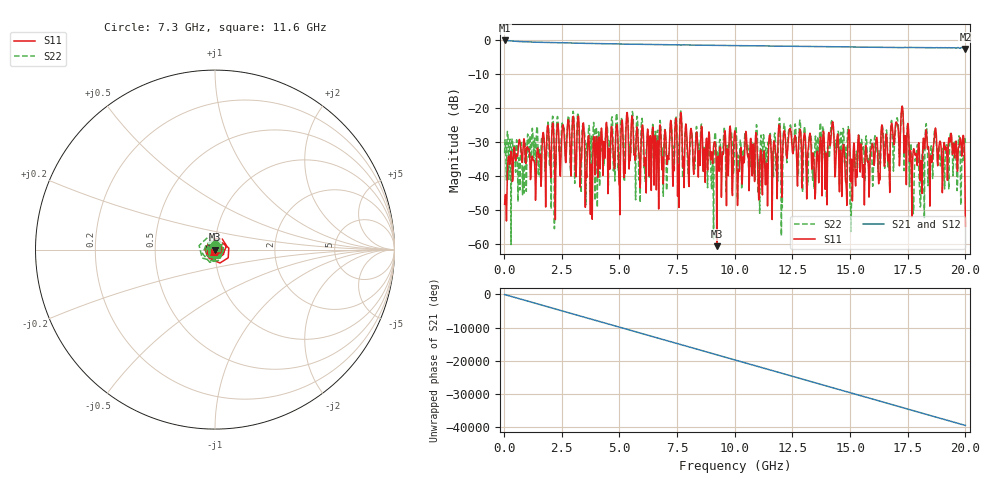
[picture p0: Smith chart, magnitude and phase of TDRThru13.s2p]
! File created by SignalIntegrity v1.3.3: Signal and Power Integrity Tools
! https://github.com/TeledyneLeCroy/SignalIntegrity
# MHz S MA R 50.0
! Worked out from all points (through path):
!   1000 points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, 20 MHz to 20 GHz, reference 50 ohm
!   highest |S21| = -0.09 dB at 20 MHz (marker M1); lowest = -2.6 dB at 20 GHz (marker M2)
!   lowest |S11| = -60.5 dB at 9.22 GHz (marker M3), VSWR 1.00, Z = 50 - j0.0905 ohm
!   |S11| at or under -10 dB: start of sweep to end of sweep
!   |S22| runs from -60.0 to -19.4 dB; largest |S21 - S12| = 0.0048
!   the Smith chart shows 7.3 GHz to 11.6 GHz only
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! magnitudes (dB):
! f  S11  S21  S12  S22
! 20 MHz  -48.2  -0.1  -0.1  -33.2
! 240 MHz  -36.5  -0.2  -0.2  -29.2
! 640 MHz  -29.6  -0.4  -0.4  -34.6
! 3.36 GHz  -34.5  -0.9  -0.9  -31.3
! 6.68 GHz  -33.5  -1.3  -1.3  -29.9
! 8.48 GHz  -34.8  -1.5  -1.5  -32.4
! 9 GHz  -32.8  -1.5  -1.5  -43.8
! 9.22 GHz  -60.5  -1.5  -1.5  -42.9
! 10.02 GHz  -26.9  -1.6  -1.6  -26.6
! 11.1 GHz  -33.6  -1.7  -1.7  -35.8
! 12.4 GHz  -25.9  -1.8  -1.8  -25.1
! 13.34 GHz  -37.9  -1.9  -1.9  -32.4
! 13.56 GHz  -33.3  -1.9  -1.9  -35.6
! 14.24 GHz  -23.9  -1.9  -1.9  -25.0
! 15.08 GHz  -36.5  -2.0  -2.0  -39.4
! 15.46 GHz  -32.4  -2.0  -2.0  -33.9
! 16.68 GHz  -33.5  -2.1  -2.1  -34.3
! 17.22 GHz  -21.3  -2.1  -2.1  -21.8
! 17.76 GHz  -31.9  -2.2  -2.2  -49.6
! 18.72 GHz  -26.2  -2.2  -2.2  -28.6
! 19.84 GHz  -34.1  -2.1  -2.2  -36.7
! 20 GHz  -54.7  -2.6  -2.6  -30.2
